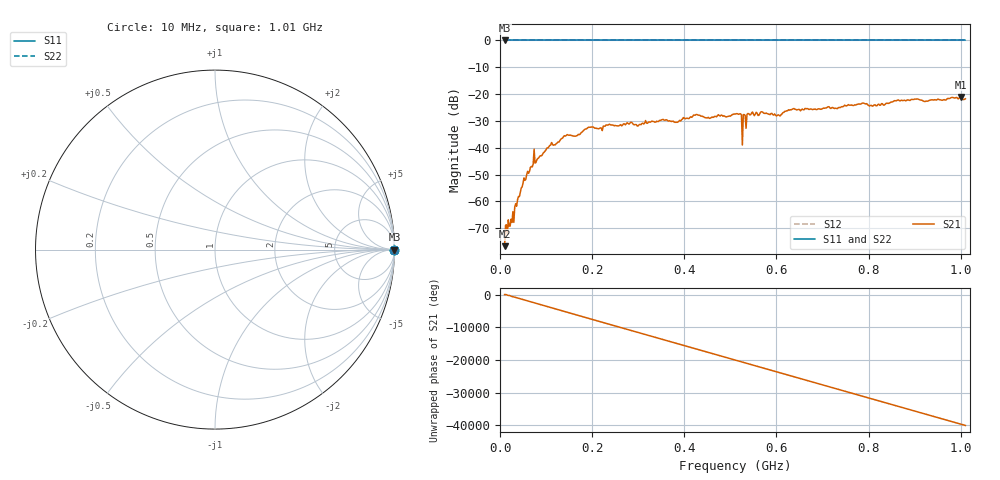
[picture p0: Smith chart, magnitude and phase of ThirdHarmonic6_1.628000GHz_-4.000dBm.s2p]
! 8/16/2025 7:27:05 PM
! C:\ANRITSUVNA\TEMP\TEMP.S2P
! CHANNEL.1
! TR.MEASUREMENT
! RAW.DATA
! RF.CORRECTION.OFF
! AVERAGING.OFF
! IF.BANDWIDTH: 5KHZ
! SWEEPTYPE:  FREQ.SWEEP(Linear)
! Reference Plane Port Info
! PORT:  PORT1  PORT2
! DISTANCE:  0  m  0  m
! TIME:  0  s  0  s
! PHASE.OFFSET:  0  deg.  0  deg.
! LOSS:  0  dB  0  dB
! REF.LOSS:  0  dB  0  dB
! REF.FREQ:  0  Hz  0  Hz
! Power Info
! POWER:  -20  dBm  -20  dBm
! EFF.POWER:  -20  dBm  -20  dBm
! SOURCE.ATTEN:  0  dB  0  dB
! TEST.ATTEN:  0  dB  0  dB
# GHZ S RI R 50.0
! FREQ.GHZ  S11RE  S11IM  S21RE  S21IM  S12RE  S12IM  S22RE  S22IM
!; PortSelection: Port_12
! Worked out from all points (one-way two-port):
!   501 points, 10 MHz to 1.01 GHz, reference 50 ohm
!   highest |S21| = -21.03 dB at 1 GHz (marker M1); lowest = -76.7 dB at 10 MHz (marker M2)
!   lowest |S11| = 0.0 dB at 10 MHz (marker M3)
!   |S11| at or under -10 dB: nowhere
!   |S22| runs from 0.0 to 0.0 dB; largest |S21 - S12| = 1.1
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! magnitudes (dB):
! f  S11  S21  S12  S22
! 10 MHz  0.0  -76.7  0.0  0.0
! 16 MHz  0.0  -72.4  0.0  0.0
! 26 MHz  0.0  -67.8  0.0  0.0
! 48 MHz  0.0  -54.6  0.0  0.0
! 70 MHz  0.0  -47.1  0.0  0.0
! 108 MHz  0.0  -39.1  0.0  0.0
! 142 MHz  0.0  -35.6  0.0  0.0
! 178 MHz  0.0  -34.2  0.0  0.0
! 196 MHz  0.0  -32.4  0.0  0.0
! 344 MHz  0.0  -30.2  0.0  0.0
! 510 MHz  0.0  -27.5  0.0  0.0
! 520 MHz  0.0  -27.4  0.0  0.0
! 522 MHz  0.0  -27.3  0.0  0.0
! 530 MHz  0.0  -27.7  0.0  0.0
! 532 MHz  0.0  -27.9  0.0  0.0
! 544 MHz  0.0  -27.7  0.0  0.0
! 604 MHz  0.0  -27.7  0.0  0.0
! 634 MHz  0.0  -25.6  0.0  0.0
! 678 MHz  0.0  -25.8  0.0  0.0
! 844 MHz  0.0  -23.4  0.0  0.0
! 1 GHz  0.0  -21.0  0.0  0.0
! 1.01 GHz  0.0  -21.7  0.0  0.0
